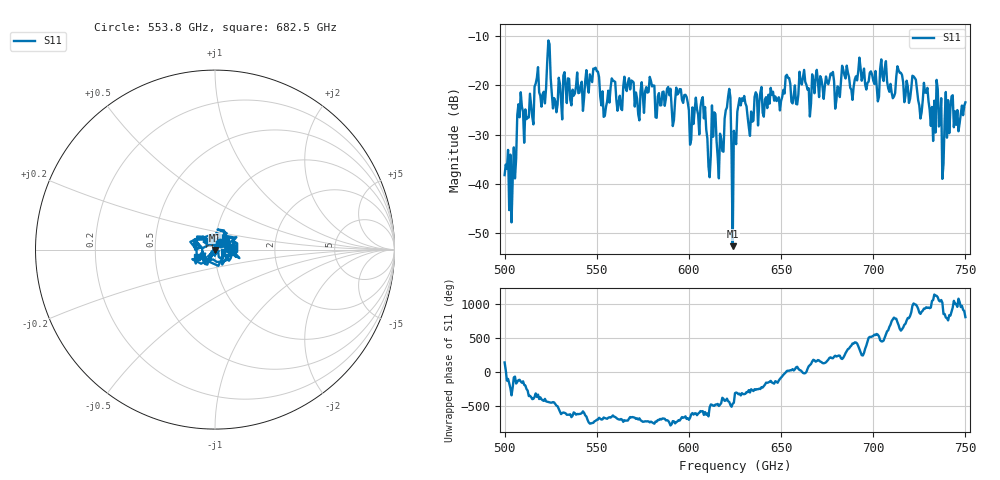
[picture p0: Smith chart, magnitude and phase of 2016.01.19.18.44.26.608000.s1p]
!Created with skrf (http://scikit-rf.org).
# GHz S RI R 50.0
!freq ReS11 ImS11
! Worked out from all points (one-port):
!   401 points, 500 GHz to 750 GHz, reference 50 ohm
!   lowest |S11| = -52.7 dB at 623.8 GHz (marker M1), VSWR 1.00, Z = 49.9 - j0.225 ohm
!   |S11| at or under -10 dB: start of sweep to end of sweep
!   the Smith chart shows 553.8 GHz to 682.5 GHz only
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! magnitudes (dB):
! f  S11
! 500 GHz  -38.2
! 505 GHz  -32.6
! 508.1 GHz  -26.5
! 521.2 GHz  -21.3
! 523.8 GHz  -10.9
! 526.9 GHz  -22.6
! 531.2 GHz  -26.9
! 549.4 GHz  -16.4
! 553.8 GHz  -26.4
! 558.8 GHz  -19.0
! 562.5 GHz  -22.1
! 593.8 GHz  -21.8
! 601.2 GHz  -31.0
! 607.5 GHz  -22.4
! 610.6 GHz  -36.5
! 613.8 GHz  -25.5
! 617.5 GHz  -30.8
! 621.2 GHz  -22.3
! 623.8 GHz  -52.7
! 625 GHz  -30.8
! 628.8 GHz  -22.6
! 633.8 GHz  -25.3
! 656.2 GHz  -23.7
! 687.5 GHz  -20.5
! 718.8 GHz  -20.2
! 735.6 GHz  -28.3
! 736.9 GHz  -22.6
! 750 GHz  -23.4
